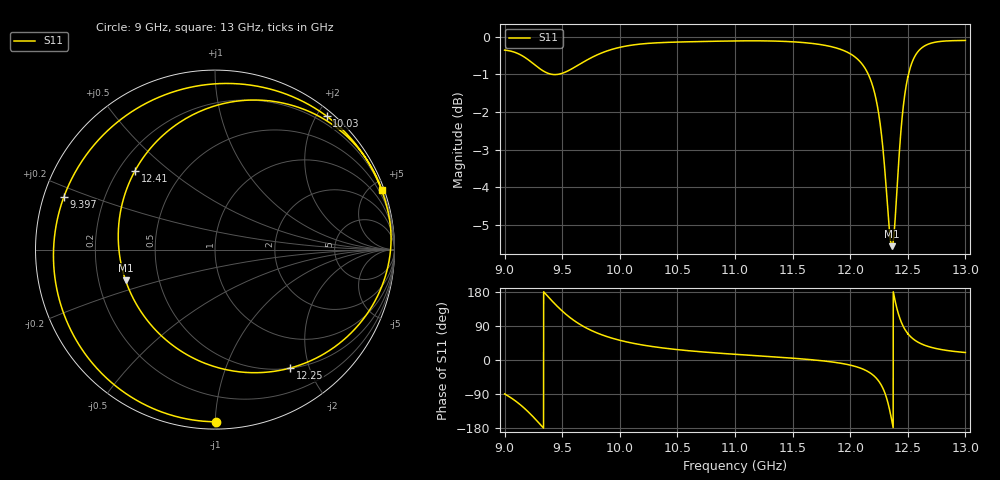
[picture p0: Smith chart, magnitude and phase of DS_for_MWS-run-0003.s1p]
! TOUCHSTONE file generated by CST DESIGN STUDIO
! Date and time: Tue Feb  4 16:25:38 2025
! Project name: C:\Work\MatlabApps\UnitCellOptimizationMatlab\CST\unitcell.cst
! Tree item: Tasks\Sweep1\SPara1\S-Parameters
! Header version: 2024
! Port assignment regex: !\s*Touchstone port\s*([0-9]+)\s*=\s*(CST MWS port|CST DES external port|CST DES block port)\s*(.+)\s* \(\"(.*)\"\)(\s*mode\s*([0-9]+))?.*
! Touchstone port assignment:
! Touchstone port 1 = CST DES external port 1 ("")
# GHz S MA R 50
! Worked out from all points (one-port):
!   4001 points, 9 GHz to 13 GHz, reference 50 ohm
!   lowest |S11| = -5.6 dB at 12.36 GHz (marker M1), VSWR 3.23, Z = 15.9 - j7.5 ohm
!   |S11| at or under -10 dB: nowhere
!   S11 on the Smith chart (normalised r, x): 9 GHz: 0.04, -1.01; 9.397 GHz: 0.06, +0.17; 10.03 GHz: 0.09, +2.14; 12.25 GHz: 0.50, -1.71; 12.41 GHz: 0.27, +0.39; 13 GHz: 0.20, +5.73
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9  0.9593 -89.5
9.098  0.9518 -108.9
9.183  0.9367 -130.5
9.296  0.9087 -165.6
9.397  0.8917 160.6
9.5  0.8937 129.3
9.584  0.9062 108.3
9.682  0.9247 89.0
9.831  0.9495 68.0
10  0.9676 52.0
10.027  0.9695 50.0
10.5  0.9833 27.4
11  0.9867 15.0
11.5  0.9841 4.8
12  0.9488 -13.5
12.157  0.891 -31.0
12.209  0.845 -42.6
12.252  0.7815 -57.6
12.313  0.628 -97.5
12.337  0.5605 -124.6
12.362  0.5269 -161.1
12.383  0.5527 166.2
12.406  0.6259 135.3
12.448  0.7725 96.7
12.5  0.8833 69.8
12.568  0.9453 50.9
12.658  0.974 37.6
13  0.9881 19.8
